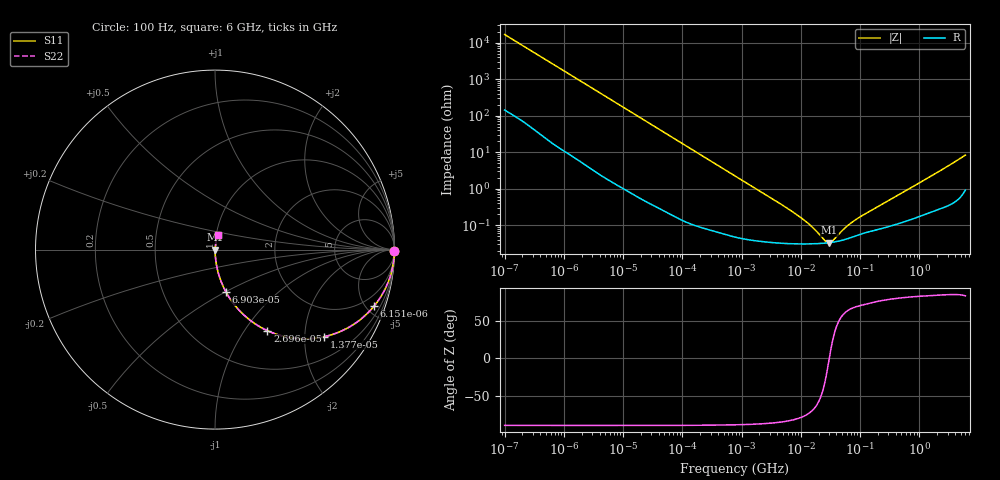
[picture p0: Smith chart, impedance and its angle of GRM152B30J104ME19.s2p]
!Murata Part Number: GRM152B30J104ME19
!These Parameters are Measured in Series Mode Connection
!Data Generated on Mar 30, 2021
!  o--ll--o
!Port1  Port2
!  o------o
!Operation Temp=25[degC], DC Bias Voltage=0[V]
!Freq. Start=100[Hz] Stop=6[GHz] 401[Steps]
# Hz S RI R 50
!Freq.(Hz) S11(Real) S11(Imag) S21(Real) S21(Imag) S12(Real) S12(Imag) S22(Real) S22(Imag)
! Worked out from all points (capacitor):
!   401 points, 100 Hz to 6 GHz, reference 50 ohm
!   read as one part in series: C = 94.2 nF near 109 Hz
!   lowest |Z| = 33.1 mohm at 30.45 MHz (marker M1)
!   series resonance near 30.24 MHz, so ESL is about 290 pH
!   S11 on the Smith chart (normalised r, x): 100 Hz: open; 6.151 kHz: 1.03, -5.58; 13.77 kHz: 1.01, -2.50; 26.96 kHz: 1.01, -1.28; 69.03 kHz: 1.00, -0.50; 6 GHz: 1.02, +0.17
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100  0.9999 -0.00593  8.53e-05 0.00593  8.53e-05 0.00593  0.9999 -0.00593
627  0.9984 -0.0368  0.00159 0.0368  0.00159 0.0368  0.9984 -0.0368
2008  0.9857 -0.1157  0.0143 0.1157  0.0143 0.1157  0.9857 -0.1157
6151  0.8848 -0.3164  0.1152 0.3164  0.1152 0.3164  0.8848 -0.3164
9204  0.7759 -0.4141  0.2241 0.4141  0.2241 0.4141  0.7759 -0.4141
13772  0.6092 -0.485  0.3908 0.485  0.3908 0.485  0.6092 -0.485
18841  0.4559 -0.495  0.5441 0.495  0.5441 0.495  0.4559 -0.495
26957  0.2919 -0.4515  0.7081 0.4515  0.7081 0.4515  0.2919 -0.4515
40335  0.1568 -0.3603  0.8432 0.3603  0.8432 0.3603  0.1568 -0.3603
69028  0.0607 -0.2353  0.9393 0.2353  0.9393 0.2353  0.0607 -0.2353
193316  0.00889 -0.089  0.9911 0.089  0.9911 0.089  0.00889 -0.089
774597  0.000978 -0.0226  0.999 0.0226  0.999 0.0226  0.000978 -0.0226
6353432  0.000317 -0.00266  0.9997 0.00266  0.9997 0.00266  0.000317 -0.00266
1.555665e7  0.000307 -0.000835  0.9997 0.000835  0.9997 0.000835  0.000307 -0.000835
2.545746e7  0.00032 -0.000201  0.9997 0.000201  0.9997 0.000201  0.00032 -0.000201
3.045065e7  0.00033 8.1e-06  0.9997 -8.1e-06  0.9997 -8.1e-06  0.00033 8.1e-06
3.482834e7  0.00034 0.000164  0.9997 -0.000164  0.9997 -0.000164  0.00034 0.000164
5.449875e7  0.000399 0.000704  0.9996 -0.000704  0.9996 -0.000704  0.000399 0.000704
7.797396e7  0.000483 0.0012  0.9995 -0.0012  0.9995 -0.0012  0.000483 0.0012
3.124326e8  0.000943 0.00475  0.9991 -0.00475  0.9991 -0.00475  0.000943 0.00475
1.95892e9  0.00329 0.0268  0.9967 -0.0268  0.9967 -0.0268  0.00329 0.0268
6e9  0.0157 0.081  0.9843 -0.081  0.9843 -0.081  0.0157 0.081
